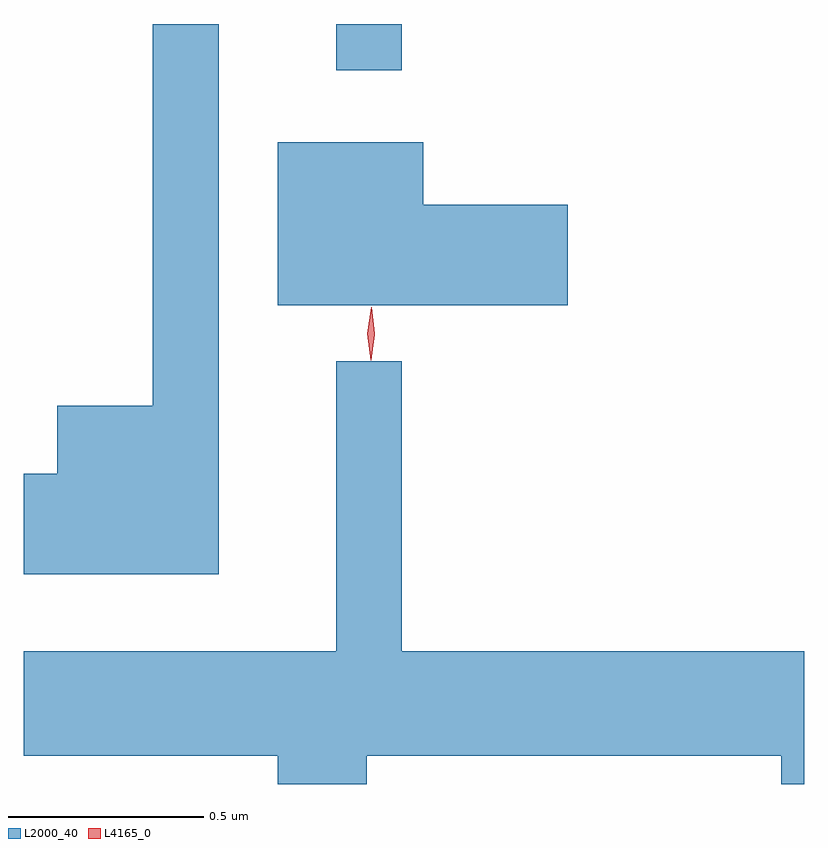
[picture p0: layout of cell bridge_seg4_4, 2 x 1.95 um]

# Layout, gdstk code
import gdstk
lib = gdstk.Library(unit=1e-6, precision=1e-09)
def R(c, l, rs):  # rectangles x0, y0, x1, y1
    for r in rs: c.add(gdstk.rectangle(r[:2], r[2:], *l))
def P(c, l, *ps):  # polygons
    for p in ps: c.add(gdstk.Polygon(p, *l))
L2000_40 = (2000, 40)
L4165_0 = (4165, 0)

bridge_seg4_4 = lib.new_cell('bridge_seg4_4')
R(bridge_seg4_4, L2000_40, [(1170.611,1391.953,1170.779,1392.072)])
P(bridge_seg4_4, L2000_40, [(1170.309,1392.072),(1170.141,1392.072),(1170.141,1391.094),(1169.896,1391.094),(1169.896,1390.919),(1169.81,1390.919),(1169.81,1390.661),(1170.309,1390.661)],
  [(1171.204,1391.609),(1170.834,1391.609),(1170.834,1391.769),(1170.461,1391.769),(1170.461,1391.351),(1171.204,1391.351)],
  [(1170.611,1391.208),(1170.611,1390.464),(1169.81,1390.464),(1169.81,1390.196),(1170.461,1390.196),(1170.461,1390.124),(1170.689,1390.124),(1170.689,1390.196),(1171.751,1390.196),(1171.751,1390.124),(1171.81,1390.124),(1171.81,1390.464),(1170.779,1390.464),(1170.779,1391.208)])
P(bridge_seg4_4, L4165_0, [(1170.699,1391.21),(1170.69,1391.278),(1170.701,1391.346),(1170.701,1391.346),(1170.702,1391.346),(1170.71,1391.278),(1170.7,1391.21),(1170.7,1391.21)],
  [(1170.7,1391.213),(1170.699,1391.214),(1170.691,1391.276),(1170.701,1391.339),(1170.702,1391.34),(1170.702,1391.339),(1170.71,1391.276),(1170.7,1391.214)])

lib.write_gds('bridge_seg4_4.gds')
